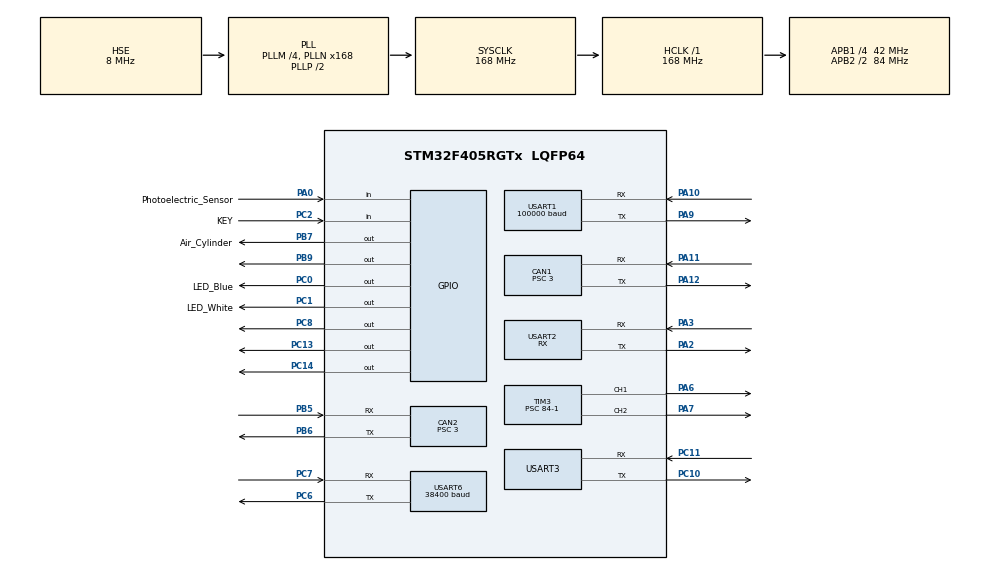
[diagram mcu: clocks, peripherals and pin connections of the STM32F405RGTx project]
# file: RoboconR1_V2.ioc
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CAN1.BS1=CAN_BS1_6TQ
CAN1.BS2=CAN_BS2_7TQ
CAN1.CalculateBaudRate=1000000
CAN1.CalculateTimeBit=999.99
CAN1.CalculateTimeQuantum=71.42857142857143
CAN1.Prescaler=3
CAN2.BS1=CAN_BS1_6TQ
CAN2.BS2=CAN_BS2_7TQ
CAN2.CalculateBaudRate=1000000
CAN2.CalculateTimeBit=999.99
CAN2.CalculateTimeQuantum=71.42857142857143
CAN2.Prescaler=3
Dma.Request0=USART1_RX
Dma.Request1=USART2_RX
Dma.Request2=USART3_RX
Dma.Request3=USART6_RX
Dma.Request4=USART6_TX
Dma.USART1_RX.0.Direction=DMA_PERIPH_TO_MEMORY
Dma.USART1_RX.0.FIFOMode=DMA_FIFOMODE_DISABLE
Dma.USART1_RX.0.Instance=DMA2_Stream2
Dma.USART1_RX.0.MemDataAlignment=DMA_MDATAALIGN_BYTE
Dma.USART1_RX.0.MemInc=DMA_MINC_ENABLE
Dma.USART1_RX.0.Mode=DMA_CIRCULAR
Dma.USART1_RX.0.PeriphDataAlignment=DMA_PDATAALIGN_BYTE
Dma.USART1_RX.0.PeriphInc=DMA_PINC_DISABLE
Dma.USART1_RX.0.Priority=DMA_PRIORITY_HIGH
Dma.USART2_RX.1.Direction=DMA_PERIPH_TO_MEMORY
Dma.USART2_RX.1.FIFOMode=DMA_FIFOMODE_DISABLE
Dma.USART2_RX.1.Instance=DMA1_Stream5
Dma.USART2_RX.1.MemDataAlignment=DMA_MDATAALIGN_BYTE
Dma.USART2_RX.1.MemInc=DMA_MINC_ENABLE
Dma.USART2_RX.1.Mode=DMA_CIRCULAR
Dma.USART2_RX.1.PeriphDataAlignment=DMA_PDATAALIGN_BYTE
Dma.USART2_RX.1.PeriphInc=DMA_PINC_DISABLE
Dma.USART2_RX.1.Priority=DMA_PRIORITY_HIGH
Dma.USART3_RX.2.Direction=DMA_PERIPH_TO_MEMORY
Dma.USART3_RX.2.FIFOMode=DMA_FIFOMODE_DISABLE
Dma.USART3_RX.2.Instance=DMA1_Stream1
Dma.USART3_RX.2.MemDataAlignment=DMA_MDATAALIGN_BYTE
Dma.USART3_RX.2.MemInc=DMA_MINC_ENABLE
Dma.USART3_RX.2.Mode=DMA_CIRCULAR
Dma.USART3_RX.2.PeriphDataAlignment=DMA_PDATAALIGN_BYTE
Dma.USART3_RX.2.PeriphInc=DMA_PINC_DISABLE
Dma.USART3_RX.2.Priority=DMA_PRIORITY_HIGH
Dma.USART6_RX.3.Direction=DMA_PERIPH_TO_MEMORY
Dma.USART6_RX.3.FIFOMode=DMA_FIFOMODE_DISABLE
Dma.USART6_RX.3.Instance=DMA2_Stream1
Dma.USART6_RX.3.MemDataAlignment=DMA_MDATAALIGN_BYTE
Dma.USART6_RX.3.MemInc=DMA_MINC_ENABLE
Dma.USART6_RX.3.Mode=DMA_CIRCULAR
Dma.USART6_RX.3.PeriphDataAlignment=DMA_PDATAALIGN_BYTE
Dma.USART6_RX.3.PeriphInc=DMA_PINC_DISABLE
Dma.USART6_RX.3.Priority=DMA_PRIORITY_HIGH
Dma.USART6_TX.4.Direction=DMA_MEMORY_TO_PERIPH
Dma.USART6_TX.4.FIFOMode=DMA_FIFOMODE_DISABLE
Dma.USART6_TX.4.Instance=DMA2_Stream6
Dma.USART6_TX.4.MemDataAlignment=DMA_MDATAALIGN_BYTE
Dma.USART6_TX.4.MemInc=DMA_MINC_ENABLE
Dma.USART6_TX.4.Mode=DMA_NORMAL
Dma.USART6_TX.4.PeriphDataAlignment=DMA_PDATAALIGN_BYTE
Dma.USART6_TX.4.PeriphInc=DMA_PINC_DISABLE
Dma.USART6_TX.4.Priority=DMA_PRIORITY_HIGH
FREERTOS.MEMORY_ALLOCATION=0
FREERTOS.Tasks01=InitTask,-3,128,StartInitTask,Default,NULL,Dynamic,NULL,NULL;AnalysisTask,0,128,DataAnalysisTask,Default,NULL,Dynamic,NULL,NULL;RoboTask,2,128,RoboControlTask,Default,NULL,Dynamic,NULL,NULL;BaseTask,1,128,BaseCtrlTask,Default,NULL,Dynamic,NULL,NULL;ArmYunTask,1,128,ArmYunCtrlTask,Default,NULL,Dynamic,NULL,NULL;AutomaticTask,2,128,AutomaticCtrlTask,Default,NULL,Dynamic,NULL,NULL
Mcu.Family=STM32F4
Mcu.Name=STM32F405RGTx
Mcu.Package=LQFP64
NVIC.CAN1_RX0_IRQn=true\:5\:0\:false\:false\:true\:true\:true\:true
NVIC.CAN1_TX_IRQn=true\:5\:0\:false\:false\:true\:true\:true\:true
NVIC.CAN2_RX0_IRQn=true\:5\:0\:false\:false\:true\:true\:true\:true
NVIC.CAN2_TX_IRQn=true\:5\:0\:false\:false\:true\:true\:true\:true
NVIC.DMA1_Stream1_IRQn=true\:5\:0\:false\:false\:true\:true\:false\:true
NVIC.DMA1_Stream5_IRQn=true\:5\:0\:false\:false\:true\:true\:false\:true
NVIC.DMA2_Stream1_IRQn=true\:5\:0\:false\:false\:true\:true\:false\:true
NVIC.DMA2_Stream2_IRQn=true\:5\:0\:false\:false\:true\:true\:false\:true
NVIC.DMA2_Stream6_IRQn=true\:5\:0\:false\:false\:true\:true\:false\:true
NVIC.PriorityGroup=NVIC_PRIORITYGROUP_4
NVIC.TIM1_UP_TIM10_IRQn=true\:15\:0\:false\:false\:true\:false\:false\:true
NVIC.TIM2_IRQn=true\:5\:0\:false\:false\:true\:true\:true\:true
NVIC.TimeBase=TIM1_UP_TIM10_IRQn
NVIC.TimeBaseIP=TIM1
NVIC.USART1_IRQn=true\:5\:0\:false\:false\:true\:true\:true\:true
NVIC.USART2_IRQn=true\:5\:0\:false\:false\:true\:true\:true\:true
NVIC.USART3_IRQn=true\:5\:0\:false\:false\:true\:true\:true\:true
NVIC.USART6_IRQn=true\:5\:0\:false\:false\:true\:true\:true\:true
PA0-WKUP.GPIO_Label=Photoelectric_Sensor
PA0-WKUP.GPIO_PuPd=GPIO_PULLDOWN
PA0-WKUP.Signal=GPIO_Input
PA10.Mode=Asynchronous
PA10.Signal=USART1_RX
PA11.Mode=CAN_Activate
PA11.Signal=CAN1_RX
PA12.Mode=CAN_Activate
PA12.Signal=CAN1_TX
PA2.Mode=Asynchronous
PA2.Signal=USART2_TX
PA3.Mode=Asynchronous
PA3.Signal=USART2_RX
PA6.Signal=S_TIM3_CH1
PA7.Signal=S_TIM3_CH2
PA9.Mode=Asynchronous
PA9.Signal=USART1_TX
PB5.Mode=CAN_Activate
PB5.Signal=CAN2_RX
PB6.Mode=CAN_Activate
PB6.Signal=CAN2_TX
PB7.GPIO_Label=Air_Cylinder
PB7.Signal=GPIO_Output
PB9.Signal=GPIO_Output
PC0.GPIO_Label=LED_Blue
PC0.GPIO_ModeDefaultOutputPP=GPIO_MODE_OUTPUT_PP
PC0.GPIO_PuPd=GPIO_PULLUP
PC0.GPIO_Speed=GPIO_SPEED_FREQ_HIGH
PC0.PinState=GPIO_PIN_RESET
PC0.Signal=GPIO_Output
PC1.GPIO_Label=LED_White
PC1.GPIO_ModeDefaultOutputPP=GPIO_MODE_OUTPUT_PP
PC1.GPIO_PuPd=GPIO_PULLUP
PC1.GPIO_Speed=GPIO_SPEED_FREQ_HIGH
PC1.PinState=GPIO_PIN_RESET
PC1.Signal=GPIO_Output
PC10.Mode=Asynchronous
PC10.Signal=USART3_TX
PC11.Mode=Asynchronous
PC11.Signal=USART3_RX
PC13-ANTI_TAMP.GPIO_ModeDefaultOutputPP=GPIO_MODE_OUTPUT_PP
PC13-ANTI_TAMP.GPIO_PuPd=GPIO_PULLUP
PC13-ANTI_TAMP.GPIO_Speed=GPIO_SPEED_FREQ_LOW
PC13-ANTI_TAMP.PinState=GPIO_PIN_SET
PC13-ANTI_TAMP.Signal=GPIO_Output
PC14-OSC32_IN.GPIO_ModeDefaultOutputPP=GPIO_MODE_OUTPUT_PP
PC14-OSC32_IN.GPIO_PuPd=GPIO_PULLUP
PC14-OSC32_IN.GPIO_Speed=GPIO_SPEED_FREQ_LOW
PC14-OSC32_IN.PinState=GPIO_PIN_SET
PC14-OSC32_IN.Signal=GPIO_Output
PC2.GPIO_Label=KEY
PC2.GPIO_PuPd=GPIO_PULLDOWN
PC2.Signal=GPIO_Input
PC6.Mode=Asynchronous
PC6.Signal=USART6_TX
PC7.Mode=Asynchronous
PC7.Signal=USART6_RX
PC8.Signal=GPIO_Output
PH0-OSC_IN.Mode=HSE-External-Oscillator
PH0-OSC_IN.Signal=RCC_OSC_IN
PH1-OSC_OUT.Mode=HSE-External-Oscillator
PH1-OSC_OUT.Signal=RCC_OSC_OUT
ProjectManager.HeapSize=0x200
ProjectManager.StackSize=0x400
ProjectManager.TargetToolchain=MDK-ARM V5.27
RCC.48MHZClocksFreq_Value=84000000
RCC.AHBFreq_Value=168000000
RCC.APB1CLKDivider=RCC_HCLK_DIV4
RCC.APB1Freq_Value=42000000
RCC.APB1TimFreq_Value=84000000
RCC.APB2CLKDivider=RCC_HCLK_DIV2
RCC.APB2Freq_Value=84000000
RCC.APB2TimFreq_Value=168000000
RCC.CortexFreq_Value=168000000
RCC.HCLKFreq_Value=168000000
RCC.HSE_VALUE=8000000
RCC.HSI_VALUE=16000000
RCC.LSE_VALUE=32768
RCC.PLLM=4
RCC.PLLN=168
RCC.PLLSourceVirtual=RCC_PLLSOURCE_HSE
RCC.SYSCLKFreq_VALUE=168000000
RCC.SYSCLKSource=RCC_SYSCLKSOURCE_PLLCLK
RCC.VCOOutputFreq_Value=336000000
SH.S_TIM3_CH1.0=TIM3_CH1,PWM Generation1 CH1
SH.S_TIM3_CH2.0=TIM3_CH2,PWM Generation2 CH2
TIM2.Period=1000-1
TIM2.Prescaler=8400-1
TIM3.Channel-PWM\ Generation1\ CH1=TIM_CHANNEL_1
TIM3.Channel-PWM\ Generation2\ CH2=TIM_CHANNEL_2
TIM3.OCMode_PWM-PWM\ Generation1\ CH1=TIM_OCMODE_PWM2
TIM3.OCMode_PWM-PWM\ Generation2\ CH2=TIM_OCMODE_PWM2
TIM3.OCPolarity_1=TIM_OCPOLARITY_LOW
TIM3.OCPolarity_2=TIM_OCPOLARITY_LOW
TIM3.Period=20000-1
TIM3.Prescaler=84-1
TIM3.Pulse-PWM\ Generation1\ CH1=1000
TIM3.Pulse-PWM\ Generation2\ CH2=1000
USART1.BaudRate=100000
USART1.Mode=MODE_RX
USART1.Parity=PARITY_EVEN
USART1.VirtualMode=VM_ASYNC
USART1.WordLength=WORDLENGTH_9B
USART2.Mode=MODE_RX
USART2.VirtualMode=VM_ASYNC
USART3.Parity=PARITY_EVEN
USART3.VirtualMode=VM_ASYNC
USART3.WordLength=WORDLENGTH_9B
USART6.BaudRate=38400
USART6.Mode=MODE_TX_RX
USART6.VirtualMode=VM_ASYNC
VP_CRC_VS_CRC.Mode=CRC_Activate
VP_FREERTOS_VS_CMSIS_V1.Mode=CMSIS_V1
VP_SYS_VS_tim1.Mode=TIM1
VP_TIM2_VS_ClockSourceINT.Mode=Internal
VP_TIM3_VS_ClockSourceINT.Mode=Internal
board=custom

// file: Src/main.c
/* USER CODE BEGIN Header */
/**
  ******************************************************************************
  * @file           : main.c
  * @brief          : Main program body
  ******************************************************************************
  * @attention
  *
  * <h2><center>&copy; Copyright (c) 2022 STMicroelectronics.
  * All rights reserved.</center></h2>
  *
  * This software component is licensed by ST under Ultimate Liberty license
  * SLA0044, the "License"; You may not use this file except in compliance with
  * the License. You may obtain a copy of the License at:
  *                             www.st.com/SLA0044
  *
  ******************************************************************************
  */
/* USER CODE END Header */
#include "main.h"
#include "cmsis_os.h"
#include "can.h"
#include "crc.h"
#include "dma.h"
#include "tim.h"
#include "usart.h"
#include "gpio.h"

void SystemClock_Config(void);
void MX_FREERTOS_Init(void);

int main(void)
{

  /* MCU Configuration--------------------------------------------------------*/

  /* Reset of all peripherals, Initializes the Flash interface and the Systick. */
  HAL_Init();

  /* Configure the system clock */
  SystemClock_Config();

  /* Initialize all configured peripherals */
  MX_GPIO_Init();
  MX_CRC_Init();
  MX_CAN1_Init();
  MX_DMA_Init();
  MX_TIM2_Init();
  MX_TIM3_Init();
  MX_USART1_UART_Init();
  MX_CAN2_Init();
  MX_USART2_UART_Init();
  MX_USART3_UART_Init();
  MX_USART6_UART_Init();

  /* Call init function for freertos objects (in freertos.c) */
  MX_FREERTOS_Init();
  /* Start scheduler */
  osKernelStart();

  /* We should never get here as control is now taken by the scheduler */
  /* Infinite loop */
  while (1)
  {

  }
}

void SystemClock_Config(void)
{
  RCC_OscInitTypeDef RCC_OscInitStruct = {0};
  RCC_ClkInitTypeDef RCC_ClkInitStruct = {0};

  /** Configure the main internal regulator output voltage
  */
  __HAL_RCC_PWR_CLK_ENABLE();
  __HAL_PWR_VOLTAGESCALING_CONFIG(PWR_REGULATOR_VOLTAGE_SCALE1);
  /** Initializes the RCC Oscillators according to the specified parameters
  * in the RCC_OscInitTypeDef structure.
  */
  RCC_OscInitStruct.OscillatorType = RCC_OSCILLATORTYPE_HSE;
  RCC_OscInitStruct.HSEState = RCC_HSE_ON;
  RCC_OscInitStruct.PLL.PLLState = RCC_PLL_ON;
  RCC_OscInitStruct.PLL.PLLSource = RCC_PLLSOURCE_HSE;
  RCC_OscInitStruct.PLL.PLLM = 4;
  RCC_OscInitStruct.PLL.PLLN = 168;
  RCC_OscInitStruct.PLL.PLLP = RCC_PLLP_DIV2;
  RCC_OscInitStruct.PLL.PLLQ = 4;
  if (HAL_RCC_OscConfig(&RCC_OscInitStruct) != HAL_OK)
  {
    Error_Handler();
  }
  /** Initializes the CPU, AHB and APB buses clocks
  */
  RCC_ClkInitStruct.ClockType = RCC_CLOCKTYPE_HCLK|RCC_CLOCKTYPE_SYSCLK
                              |RCC_CLOCKTYPE_PCLK1|RCC_CLOCKTYPE_PCLK2;
  RCC_ClkInitStruct.SYSCLKSource = RCC_SYSCLKSOURCE_PLLCLK;
  RCC_ClkInitStruct.AHBCLKDivider = RCC_SYSCLK_DIV1;
  RCC_ClkInitStruct.APB1CLKDivider = RCC_HCLK_DIV4;
  RCC_ClkInitStruct.APB2CLKDivider = RCC_HCLK_DIV2;

  if (HAL_RCC_ClockConfig(&RCC_ClkInitStruct, FLASH_LATENCY_5) != HAL_OK)
  {
    Error_Handler();
  }
}

void HAL_TIM_PeriodElapsedCallback(TIM_HandleTypeDef *htim)
{
  if (htim->Instance == TIM1) {
    HAL_IncTick();
  }
}

void Error_Handler(void)
{
  __disable_irq();
  while (1)
  {
  }
}

/************************ (C) COPYRIGHT STMicroelectronics *****END OF FILE****/

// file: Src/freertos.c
/* USER CODE BEGIN Header */
/**
  ******************************************************************************
  * File Name          : freertos.c
  * Description        : Code for freertos applications
  ******************************************************************************
  * @attention
  *
  * <h2><center>&copy; Copyright (c) 2022 STMicroelectronics.
  * All rights reserved.</center></h2>
  *
  * This software component is licensed by ST under Ultimate Liberty license
  * SLA0044, the "License"; You may not use this file except in compliance with
  * the License. You may obtain a copy of the License at:
  *                             www.st.com/SLA0044
  *
  ******************************************************************************
  */
/* USER CODE END Header */

#include "FreeRTOS.h"
#include "task.h"
#include "main.h"
#include "cmsis_os.h"

/* USER CODE BEGIN Includes */
#include "init.h"
#include "Robo_Task.h"
/* USER CODE END Includes */

/* USER CODE BEGIN Variables */
extern IFR_UDBRx_ClassDef 		Remote_Receive;
extern IFR_UDBRx_ClassDef 		IMU_Receive;
extern IFR_UDBRx_ClassDef 		Vision_Receive;
extern IFR_UDBRx_ClassDef 		Laser_Receive;
extern IFR_CAN_ClassDef				CAN_Base;
extern IFR_CAN_ClassDef 			CAN_Yun;

/* USER CODE END Variables */
osThreadId InitTaskHandle;
osThreadId AnalysisTaskHandle;
osThreadId RoboTaskHandle;
osThreadId BaseTaskHandle;
osThreadId ArmYunTaskHandle;
osThreadId AutomaticTaskHandle;

void StartInitTask(void const * argument);
void DataAnalysisTask(void const * argument);
void RoboControlTask(void const * argument);
void BaseCtrlTask(void const * argument);
void ArmYunCtrlTask(void const * argument);
void AutomaticCtrlTask(void const * argument);

void MX_FREERTOS_Init(void); /* (MISRA C 2004 rule 8.1) */

void MX_FREERTOS_Init(void) {

  /* Create the thread(s) */
  /* definition and creation of InitTask */
  osThreadDef(InitTask, StartInitTask, osPriorityIdle, 0, 128);
  InitTaskHandle = osThreadCreate(osThread(InitTask), NULL);

  /* definition and creation of AnalysisTask */
  osThreadDef(AnalysisTask, DataAnalysisTask, osPriorityNormal, 0, 128);
  AnalysisTaskHandle = osThreadCreate(osThread(AnalysisTask), NULL);

  /* definition and creation of RoboTask */
  osThreadDef(RoboTask, RoboControlTask, osPriorityHigh, 0, 128);
  RoboTaskHandle = osThreadCreate(osThread(RoboTask), NULL);

  /* definition and creation of BaseTask */
  osThreadDef(BaseTask, BaseCtrlTask, osPriorityAboveNormal, 0, 128);
  BaseTaskHandle = osThreadCreate(osThread(BaseTask), NULL);

  /* definition and creation of ArmYunTask */
  osThreadDef(ArmYunTask, ArmYunCtrlTask, osPriorityAboveNormal, 0, 128);
  ArmYunTaskHandle = osThreadCreate(osThread(ArmYunTask), NULL);

  /* definition and creation of AutomaticTask */
  osThreadDef(AutomaticTask, AutomaticCtrlTask, osPriorityHigh, 0, 128);
  AutomaticTaskHandle = osThreadCreate(osThread(AutomaticTask), NULL);

}

void StartInitTask(void const * argument)
{
  /* USER CODE BEGIN StartInitTask */
	All_Init();
  /* Infinite loop */
  for(;;)
  {
    osDelay(1);
  }
  /* USER CODE END StartInitTask */
}

void DataAnalysisTask(void const * argument)
{
  /* USER CODE BEGIN DataAnalysisTask */
	osEvent event;
  /* Infinite loop */
  for(;;)
  {
		event = osSignalWait(IFR_Uart1Flag|IFR_Uart2Flag|IFR_Uart3Flag, osWaitForever);
		if(event.status==osEventSignal)
		{
			if(event.value.signals & IFR_Uart1Flag)
				Remote_Receive.Uart_DoubleBuffer_Recevice(0);
			if(event.value.signals & IFR_Uart2Flag)
				IMU_Receive.Uart_DoubleBuffer_Recevice(0);
			if(event.value.signals & IFR_Uart3Flag)
				Vision_Receive.Uart_DoubleBuffer_Recevice(0);
			if(event.value.signals & IFR_Uart6Flag)
				Laser_Receive.Uart_DoubleBuffer_Recevice(0);
		}
		osDelay(1);
  }
  /* USER CODE END DataAnalysisTask */
}

void RoboControlTask(void const * argument)
{
  /* USER CODE BEGIN RoboControlTask */
  /* Infinite loop */
  for(;;)
  {
		Change_State();
    osDelay(1);
  }
  /* USER CODE END RoboControlTask */
}

void BaseCtrlTask(void const * argument)
{
  /* USER CODE BEGIN BaseCtrlTask */
  /* Infinite loop */
  for(;;)
  {
		Base_Task(&state);
    osDelay(1);
  }
  /* USER CODE END BaseCtrlTask */
}

void ArmYunCtrlTask(void const * argument)
{
  /* USER CODE BEGIN ArmYunCtrlTask */
  /* Infinite loop */
  for(;;)
  {
		Yun_Task(&state);
		Arm_Task(&state);
		CAN_Yun.CAN_TransmitForMotor();
    osDelay(1);
  }
  /* USER CODE END ArmYunCtrlTask */
}

void AutomaticCtrlTask(void const * argument)
{
  for(;;)
  {
    osDelay(1);
  }
}

/************************ (C) COPYRIGHT STMicroelectronics *****END OF FILE****/
